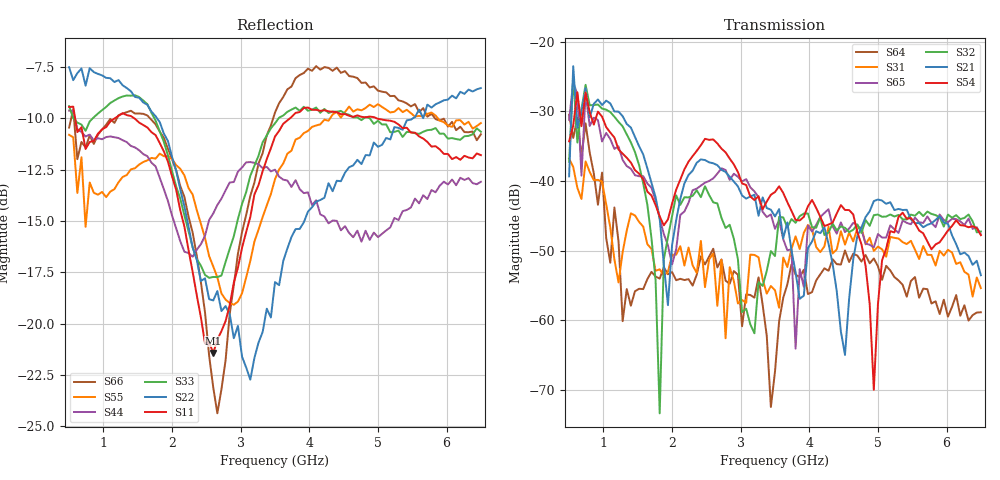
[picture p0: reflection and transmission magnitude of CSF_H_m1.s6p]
!Keysight Technologies,M9804A,MY58100912,A.14.10.03
!Date: Thursday, April 27, 2023 10:28:33
!Correction: S11(C  6-Port  )
!S12(C  6-Port  )
!S13(C  6-Port  )
!S14(C  6-Port  )
!S15(C  6-Port  )
!S16(C  6-Port  )
!S21(C  6-Port  )
!S22(C  6-Port  )
!S23(C  6-Port  )
!S24(C  6-Port  )
!S25(C  6-Port  )
!S26(C  6-Port  )
!S31(C  6-Port  )
!S32(C  6-Port  )
!S33(C  6-Port  )
!S34(C  6-Port  )
!S35(C  6-Port  )
!S36(C  6-Port  )
!S41(C  6-Port  )
!S42(C  6-Port  )
!S43(C  6-Port  )
!S44(C  6-Port  )
!S45(C  6-Port  )
!S46(C  6-Port  )
!S51(C  6-Port  )
!S52(C  6-Port  )
!S53(C  6-Port  )
!S54(C  6-Port  )
!S55(C  6-Port  )
!S56(C  6-Port  )
!S61(C  6-Port  )
!S62(C  6-Port  )
!S63(C  6-Port  )
!S64(C  6-Port  )
!S65(C  6-Port  )
!S66(C  6-Port  )
!S6P File: Measurement: :
# Hz S  RI  R 50
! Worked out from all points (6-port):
!   101 points, 500 MHz to 6.5 GHz, reference 50 ohm
!   strongest paths, dB at 500 MHz, 2 GHz, 3.5 GHz, 5 GHz, 6.5 GHz:
!     S54: -34.3, -43.3, -41.6, -57.7, -47.8
!     S21: -39.3, -49.2, -45.1, -42.7, -53.5
!     S32: -37.2, -45.1, -50.8, -44.8, -47.3
!     S65: -31.2, -52.0, -46.9, -47.6, -47.7
!     S31: -36.8, -50.6, -55.7, -49.4, -55.4
!     S64: -30.5, -53.1, -67.4, -52.2, -58.8
!   lowest |S11| = -21.4 dB at 2.6 GHz (marker M1), VSWR 1.19, Z = 42.4 + j2.09 ohm
!   |S11| at or under -10 dB: 587.7 MHz to 1.163 GHz (575.4 MHz wide, 65.7 % of centre); 1.451 GHz to 3.716 GHz (2.265 GHz wide, 87.7 % of centre); 4.985 GHz to end of sweep
